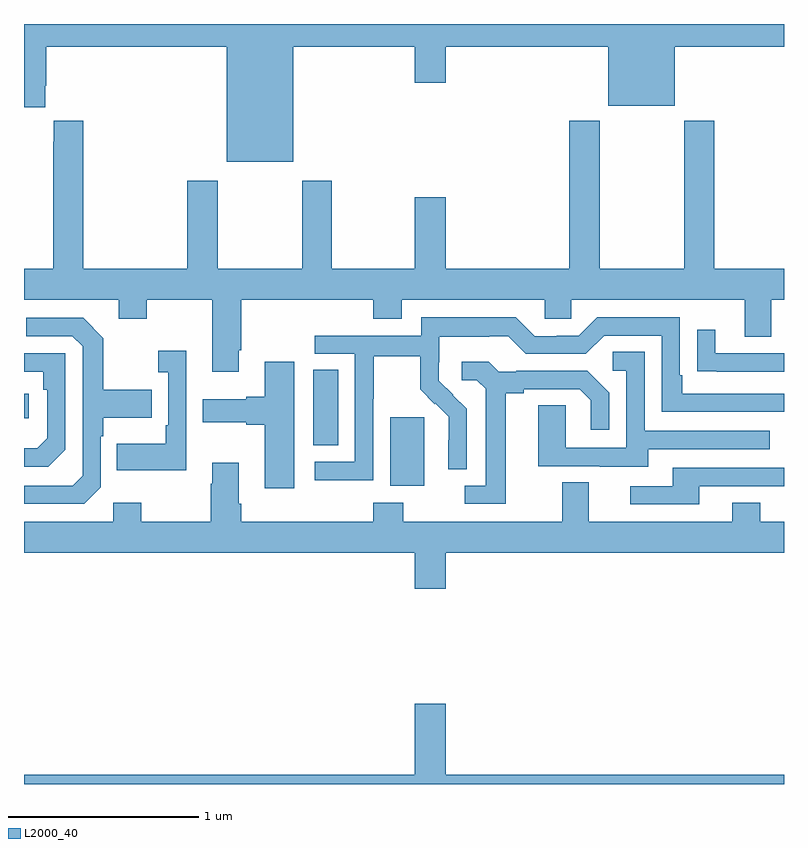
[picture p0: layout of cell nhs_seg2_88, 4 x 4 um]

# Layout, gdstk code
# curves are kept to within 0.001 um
import gdstk
lib = gdstk.Library(unit=1e-6, precision=1e-09)
def R(c, l, rs):  # rectangles x0, y0, x1, y1
    for r in rs: c.add(gdstk.rectangle(r[:2], r[2:], *l))
def P(c, l, *ps):  # polygons
    for p in ps: c.add(gdstk.Polygon(p, *l))
L2000_40 = (2000, 40)

nhs_seg2_88 = lib.new_cell('nhs_seg2_88')
R(nhs_seg2_88, L2000_40, [(116.927,601.37,117.106,601.731), (116.522,601.582,116.653,601.979), (115,601.724,115.024,601.854)])
P(nhs_seg2_88, L2000_40, [(116.416,603.68),(117.056,603.68),(117.056,603.492),(117.22,603.492),(117.22,603.68),(118.076,603.68),(118.076,603.371),(118.426,603.371),(118.426,603.68),(119,603.68),(119,603.8),(115,603.8),(115,603.363),(115.111,603.363),(115.111,603.475),(115.118,603.475),(115.118,603.68),(116.066,603.68),(116.066,603.074),(116.416,603.074)],
  [(116.131,602.083),(116.144,602.083),(116.144,602.348),(116.837,602.348),(116.837,602.249),(116.989,602.249),(116.989,602.348),(117.741,602.348),(117.741,602.25),(117.879,602.25),(117.879,602.348),(118.793,602.348),(118.793,602.154),(118.933,602.154),(118.933,602.348),(119,602.348),(119,602.512),(118.634,602.512),(118.634,603.292),(118.474,603.292),(118.474,602.512),(118.029,602.512),(118.029,603.292),(117.869,603.292),(117.869,602.512),(117.22,602.512),(117.22,602.887),(117.056,602.887),(117.056,602.512),(116.619,602.512),(116.619,602.974),(116.464,602.974),(116.464,602.512),(116.019,602.512),(116.019,602.974),(115.859,602.974),(115.859,602.512),(115.313,602.512),(115.313,603.292),(115.157,603.292),(115.157,603.179),(115.153,603.179),(115.153,602.512),(115,602.512),(115,602.348),(115.499,602.348),(115.499,602.249),(115.647,602.249),(115.647,602.348),(115.991,602.348),(115.991,601.971),(116.131,601.971)],
  [(116.838,601.828),(116.841,601.828),(116.841,602.052),(117.085,602.052),(117.085,601.877),(117.162,601.8),(117.165,601.803),(117.236,601.733),(117.236,601.61),(117.234,601.61),(117.234,601.456),(117.33,601.456),(117.33,601.774),(117.184,601.922),(117.184,602.019),(117.186,602.019),(117.186,602.153),(117.449,602.153),(117.449,602.157),(117.549,602.157),(117.642,602.064),(117.957,602.064),(118.053,602.16),(118.356,602.16),(118.356,601.758),(119,601.758),(119,601.854),(118.465,601.854),(118.465,601.951),(118.452,601.951),(118.452,602.256),(118.017,602.256),(117.921,602.16),(117.803,602.16),(117.803,602.157),(117.687,602.157),(117.587,602.257),(117.09,602.257),(117.09,602.16),(116.529,602.16),(116.529,602.064),(116.742,602.064),(116.742,601.497),(116.529,601.497),(116.529,601.399),(116.838,601.399)],
  [(115.404,601.362),(115.404,601.631),(115.417,601.631),(115.417,601.727),(115.673,601.727),(115.673,601.875),(115.417,601.875),(115.417,602.147),(115.311,602.253),(115.011,602.253),(115.011,602.157),(115.254,602.157),(115.308,602.103),(115.308,601.422),(115.257,601.371),(115,601.371),(115,601.275),(115.317,601.275)],
  [(119,602.067),(118.639,602.067),(118.639,602.191),(118.543,602.191),(118.543,601.972),(118.645,601.972),(118.645,601.971),(119,601.971)],
  [(115.854,602.08),(115.707,602.08),(115.707,601.967),(115.758,601.967),(115.758,601.687),(115.746,601.687),(115.746,601.591),(115.489,601.591),(115.489,601.451),(115.854,601.451)],
  [(118.285,601.563),(118.925,601.563),(118.925,601.659),(118.266,601.659),(118.266,602.075),(118.098,602.075),(118.098,601.974),(118.17,601.974),(118.17,601.569),(117.852,601.569),(117.852,601.793),(117.707,601.793),(117.707,601.473),(118.031,601.473),(118.031,601.469),(118.285,601.469)],
  [(115.218,601.56),(115.218,602.067),(115,602.067),(115,601.971),(115.102,601.971),(115.102,601.874),(115.122,601.874),(115.122,601.62),(115.069,601.567),(115,601.567),(115,601.47),(115.128,601.47)],
  [(117.535,601.856),(117.631,601.856),(117.631,601.878),(117.926,601.878),(117.983,601.821),(117.983,601.665),(118.08,601.665),(118.08,601.858),(117.964,601.974),(117.592,601.974),(117.592,601.971),(117.498,601.971),(117.446,602.023),(117.303,602.023),(117.303,601.926),(117.384,601.926),(117.431,601.879),(117.431,601.371),(117.321,601.371),(117.321,601.275),(117.535,601.275)],
  [(116.422,602.023),(116.267,602.023),(116.267,601.838),(116.171,601.838),(116.171,601.825),(115.941,601.825),(115.941,601.703),(116.171,601.703),(116.171,601.691),(116.267,601.691),(116.267,601.356),(116.422,601.356)],
  [(117.22,601.016),(119,601.016),(119,601.18),(118.875,601.18),(118.875,601.279),(118.727,601.279),(118.727,601.18),(117.973,601.18),(117.973,601.388),(117.833,601.388),(117.833,601.18),(116.997,601.18),(116.997,601.279),(116.837,601.279),(116.837,601.18),(116.144,601.18),(116.144,601.276),(116.131,601.276),(116.131,601.492),(115.991,601.492),(115.991,601.379),(115.984,601.379),(115.984,601.18),(115.617,601.18),(115.617,601.279),(115.47,601.279),(115.47,601.18),(115,601.18),(115,601.016),(117.056,601.016),(117.056,600.828),(117.22,600.828)],
  [(118.555,601.368),(119,601.368),(119,601.464),(118.415,601.464),(118.415,601.368),(118.191,601.368),(118.191,601.272),(118.555,601.272)],
  [(119,599.848),(117.22,599.848),(117.22,600.223),(117.056,600.223),(117.056,599.848),(115,599.848),(115,599.8),(119,599.8)])

lib.write_gds('nhs_seg2_88.gds')
